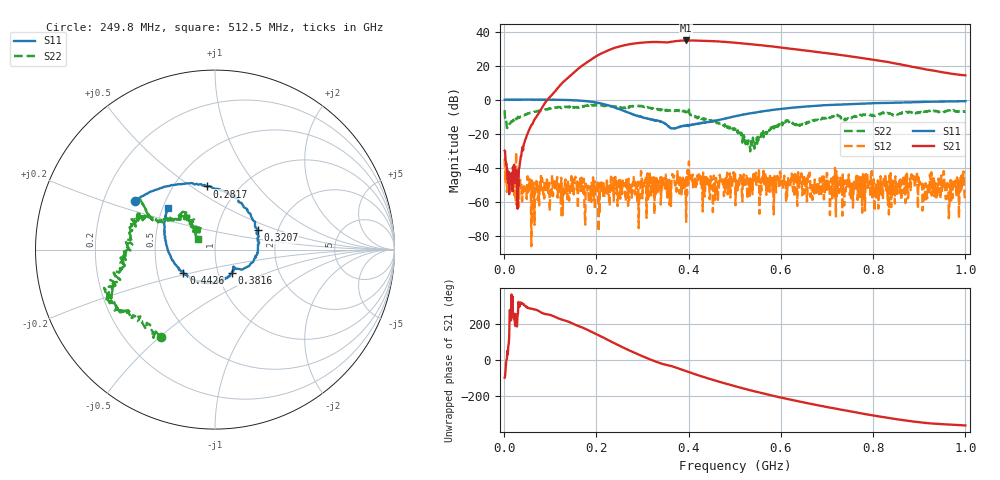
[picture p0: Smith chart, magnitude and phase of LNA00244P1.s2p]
! Created with skrf 1.9.0 (http://scikit-rf.org).
# Hz S RI R 50.0
!freq ReS11 ImS11 ReS21 ImS21 ReS12 ImS12 ReS22 ImS22
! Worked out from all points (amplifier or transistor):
!   1001 points, 1 MHz to 1 GHz, reference 50 ohm
!   highest |S21| = 34.8 dB at 394.6 MHz (marker M1)
!   |S21| within 3 dB of that: 257.5 MHz to 562.9 MHz (305.4 MHz wide, 74.5 % of centre)
!   unconditionally stable (mu >= 1): start of sweep to 103.9 MHz; 297.8 MHz to 400.3 MHz; 401 MHz to end of sweep (the widest 3 of 24)
!   at 166.8 MHz: K = 1.15, MAG = 33.3 dB, |S12| = -51.8 dB
!   at 500.5 MHz: K = 1.40, MAG = 34.1 dB, |S12| = -42.3 dB
!   at 1 GHz: K = 12.03, MAG = 22.3 dB, |S12| = -57.9 dB
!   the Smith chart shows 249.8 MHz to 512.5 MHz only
!   S11 on the Smith chart (normalised r, x): 249.8 MHz: 0.33, +0.25; 281.7 MHz: 0.72, +0.58; 320.7 MHz: 1.57, +0.37; 381.6 MHz: 1.17, -0.31; 442.6 MHz: 0.68, -0.19; 512.5 MHz: 0.53, +0.28
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1000000  0.9864 0.0132  -0.00361 -0.0314  -0.00256 0.0182  0.3598 0.3352
1.08892e8  0.502 -0.8534  -0.7903 -1.466  -0.00332 -0.000775  0.4322 -0.3727
1.67833e8  -0.2668 -0.885  -9.639 -0.4897  -0.00195 -0.00466  0.0532 -0.6313
2.11789e8  -0.6946 -0.3073  -14.74 17.76  -0.00141 -0.00329  -0.1768 -0.6486
2.49751e8  -0.4474 0.2718  6.072 36.06  0.00233 0.00323  -0.3007 -0.4885
2.81719e8  -0.0457 0.3517  32.96 30.02  -0.00213 -0.00266  -0.5621 -0.2928
3.02698e8  0.1495 0.255  44.82 15.68  -0.00327 0.00113  -0.5923 -0.2074
3.2068e8  0.2387 0.1091  49.34 0.168  -0.00225 0.00459  -0.5199 -0.1008
3.34666e8  0.2387 -0.0178  47.88 -11.11  0.000582 0.004  -0.4962 -0.0572
3.81619e8  0.0961 -0.1308  35.44 -40.72  5.18e-05 0.006  -0.4443 0.1912
3.94606e8  0.0527 -0.1624  26.66 -47.91  -0.000241 -7.83e-05  -0.4123 0.1531
4.18582e8  -0.0628 -0.1857  7.95 -53.64  0.0021 0.00359  -0.2285 0.1661
4.42558e8  -0.1761 -0.131  -10.02 -52.19  0.00168 0.00415  -0.1712 0.1701
4.73527e8  -0.2656 0.01  -28.6 -41.34  0.00432 0.000221  -0.1242 0.1353
5.005e8  -0.2785 0.1655  -38.28 -27.79  0.00726 -0.0026  -0.1058 0.071
5.12488e8  -0.2622 0.2292  -40.16 -21.22  0.00397 -0.0029  -0.0965 0.06
5.46454e8  -0.1619 0.3895  -40.61 -3.958  0.00305 0.000929  -0.0727 0.00439
5.88412e8  0.0292 0.5106  -33.29 12.27  0.00504 -0.00147  -0.1307 -0.0972
6.67333e8  0.4114 0.4964  -11.82 23.28  0.00136 -0.001  -0.2264 -0.0466
7.53247e8  0.6828 0.2813  4.631 17.84  0.00258 -0.0017  -0.2821 0.0128
8.34166e8  0.8012 0.0187  9.609 8.101  0.000412 7e-05  -0.3936 0.0362
1e9  0.7366 -0.5169  5.166 -0.1024  0.000407 -0.0012  -0.2746 0.3511
